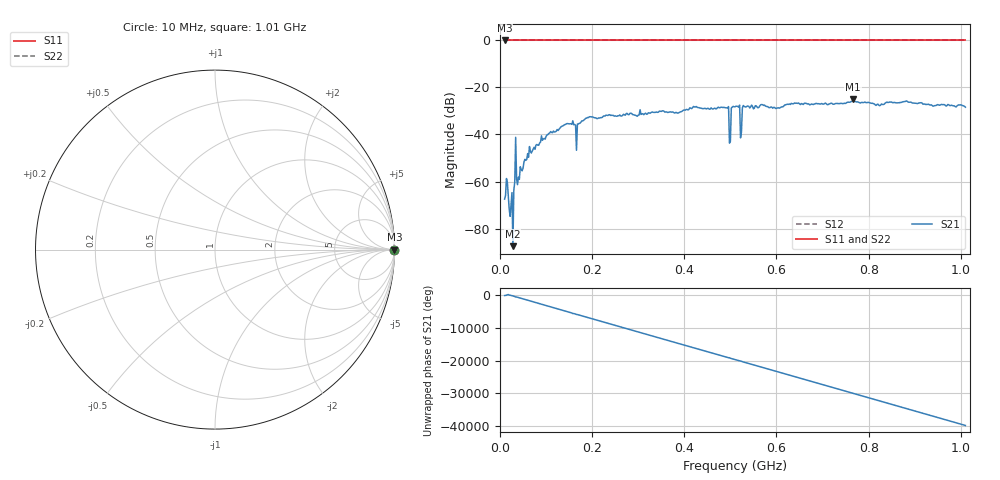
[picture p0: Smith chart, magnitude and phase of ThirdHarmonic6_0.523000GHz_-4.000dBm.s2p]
! 8/15/2025 4:07:59 PM
! C:\ANRITSUVNA\TEMP\TEMP.S2P
! CHANNEL.1
! TR.MEASUREMENT
! RAW.DATA
! RF.CORRECTION.OFF
! AVERAGING.OFF
! IF.BANDWIDTH: 5KHZ
! SWEEPTYPE:  FREQ.SWEEP(Linear)
! Reference Plane Port Info
! PORT:  PORT1  PORT2
! DISTANCE:  0  m  0  m
! TIME:  0  s  0  s
! PHASE.OFFSET:  0  deg.  0  deg.
! LOSS:  0  dB  0  dB
! REF.LOSS:  0  dB  0  dB
! REF.FREQ:  0  Hz  0  Hz
! Power Info
! POWER:  -20  dBm  -20  dBm
! EFF.POWER:  -20  dBm  -20  dBm
! SOURCE.ATTEN:  0  dB  0  dB
! TEST.ATTEN:  0  dB  0  dB
# GHZ S RI R 50.0
! FREQ.GHZ  S11RE  S11IM  S21RE  S21IM  S12RE  S12IM  S22RE  S22IM
!; PortSelection: Port_12
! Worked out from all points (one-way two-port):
!   501 points, 10 MHz to 1.01 GHz, reference 50 ohm
!   highest |S21| = -25.11 dB at 766 MHz (marker M1); lowest = -87.5 dB at 28 MHz (marker M2)
!   lowest |S11| = 0.0 dB at 10 MHz (marker M3)
!   |S11| at or under -10 dB: nowhere
!   |S22| runs from 0.0 to 0.0 dB; largest |S21 - S12| = 1
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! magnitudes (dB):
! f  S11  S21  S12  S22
! 10 MHz  0.0  -67.5  0.0  0.0
! 16 MHz  0.0  -60.4  0.0  0.0
! 24 MHz  0.0  -69.8  0.0  0.0
! 28 MHz  0.0  -87.5  0.0  0.0
! 30 MHz  0.0  -63.7  0.0  0.0
! 36 MHz  0.0  -58.9  0.0  0.0
! 40 MHz  0.0  -58.1  0.0  0.0
! 68 MHz  0.0  -47.9  0.0  0.0
! 106 MHz  0.0  -39.5  0.0  0.0
! 154 MHz  0.0  -35.4  0.0  0.0
! 168 MHz  0.0  -35.6  0.0  0.0
! 178 MHz  0.0  -34.2  0.0  0.0
! 344 MHz  0.0  -30.5  0.0  0.0
! 492 MHz  0.0  -28.6  0.0  0.0
! 498 MHz  0.0  -43.7  0.0  0.0
! 510 MHz  0.0  -28.2  0.0  0.0
! 522 MHz  0.0  -41.4  0.0  0.0
! 532 MHz  0.0  -28.3  0.0  0.0
! 678 MHz  0.0  -27.1  0.0  0.0
! 766 MHz  0.0  -25.1  0.0  0.0
! 844 MHz  0.0  -26.3  0.0  0.0
! 1.01 GHz  0.0  -28.4  0.0  0.0
